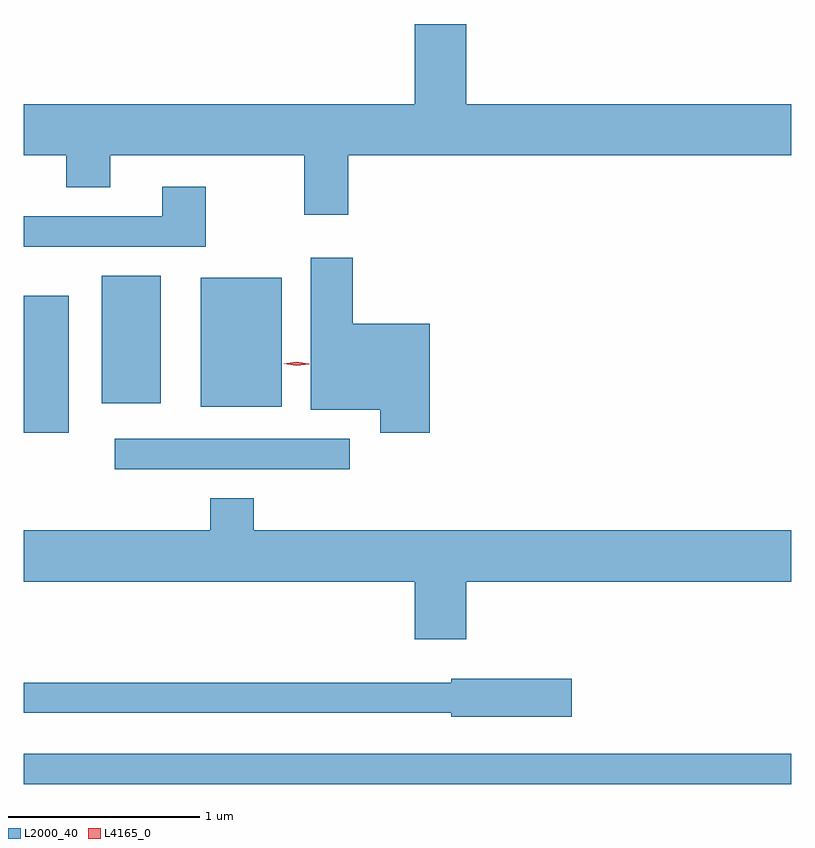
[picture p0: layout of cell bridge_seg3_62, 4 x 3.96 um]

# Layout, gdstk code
import gdstk
lib = gdstk.Library(unit=1e-6, precision=1e-09)
def R(c, l, rs):  # rectangles x0, y0, x1, y1
    for r in rs: c.add(gdstk.rectangle(r[:2], r[2:], *l))
def P(c, l, *ps):  # polygons
    for p in ps: c.add(gdstk.Polygon(p, *l))
L2000_40 = (2000, 40)
L4165_0 = (4165, 0)

bridge_seg3_62 = lib.new_cell('bridge_seg3_62')
R(bridge_seg3_62, L2000_40, [(1232.019,1209.321,1236.019,1209.479), (1232.493,1210.961,1233.718,1211.119), (1232.019,1211.151,1232.254,1211.864), (1232.941,1211.286,1233.364,1211.959), (1232.426,1211.306,1232.734,1211.969)])
P(bridge_seg3_62, L2000_40, [(1233.709,1212.596),(1236.019,1212.596),(1236.019,1212.864),(1234.324,1212.864),(1234.324,1213.281),(1234.056,1213.281),(1234.056,1212.864),(1232.019,1212.864),(1232.019,1212.596),(1232.241,1212.596),(1232.241,1212.431),(1232.469,1212.431),(1232.469,1212.596),(1233.481,1212.596),(1233.481,1212.286),(1233.709,1212.286)],
  [(1232.969,1212.434),(1232.741,1212.434),(1232.741,1212.279),(1232.019,1212.279),(1232.019,1212.121),(1232.969,1212.121)],
  [(1234.134,1211.719),(1233.734,1211.719),(1233.734,1212.064),(1233.516,1212.064),(1233.516,1211.271),(1233.876,1211.271),(1233.876,1211.151),(1234.134,1211.151)],
  [(1234.324,1210.376),(1236.019,1210.376),(1236.019,1210.644),(1233.219,1210.644),(1233.219,1210.809),(1232.991,1210.809),(1232.991,1210.644),(1232.019,1210.644),(1232.019,1210.376),(1234.056,1210.376),(1234.056,1210.076),(1234.324,1210.076)],
  [(1234.874,1209.869),(1234.246,1209.869),(1234.246,1209.849),(1232.019,1209.849),(1232.019,1209.691),(1234.246,1209.691),(1234.246,1209.671),(1234.874,1209.671)])
P(bridge_seg3_62, L4165_0, [(1233.44,1211.5),(1233.374,1211.51),(1233.373,1211.51),(1233.374,1211.51),(1233.44,1211.52),(1233.506,1211.51),(1233.507,1211.51),(1233.506,1211.509)])

lib.write_gds('bridge_seg3_62.gds')
